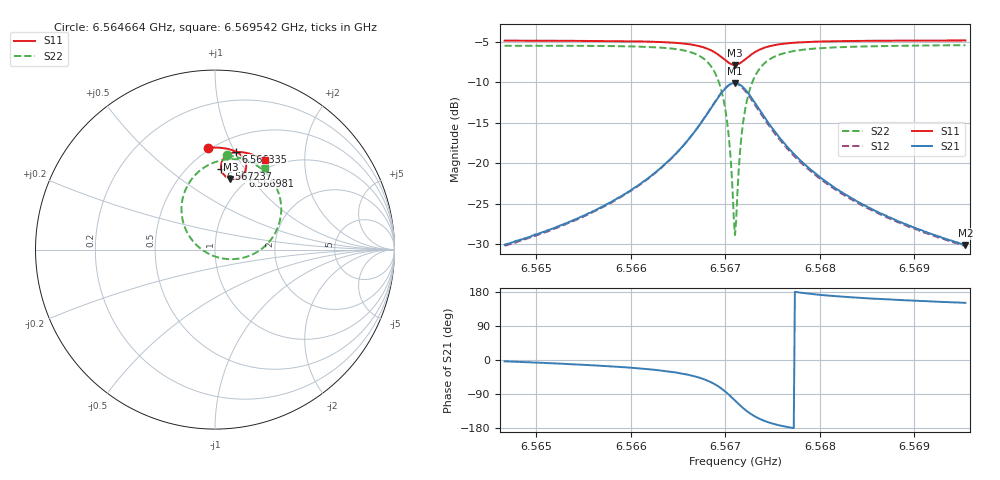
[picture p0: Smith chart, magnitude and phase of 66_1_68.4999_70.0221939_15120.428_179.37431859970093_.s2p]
#  HZ  S  RI  R  50.00
! Rohde & Schwarz Vector Network Analyzer
! Rohde-Schwarz,ZNB20-2Port,1311601062101988,3.16
! Created: UTC 3/20/2024, 4:51:32 PM
! freq[Hz]  re:S11  im:S11  re:S21  im:S21  re:S12  im:S12  re:S22  im:S22
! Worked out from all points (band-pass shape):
!   401 points, 6.564664 GHz to 6.569542 GHz, reference 50 ohm
!   highest |S21| = -10.12 dB at 6.567103 GHz (marker M1); lowest = -30.1 dB at 6.569542 GHz (marker M2)
!   |S21| within 3 dB of the highest: 6.566855 GHz to 6.567345 GHz (489.8 kHz wide, 0.00746 % of centre)
!   lowest |S11| = -7.9 dB at 6.567103 GHz (marker M3), VSWR 2.35, Z = 42.3 + j39.8 ohm
!   |S11| at or under -10 dB: nowhere
!   |S22| runs from -28.9 to -5.4 dB; largest |S21 - S12| = 0.016
!   S11 on the Smith chart (normalised r, x): 6.564664 GHz: 0.48, +0.81; 6.566335 GHz: 0.64, +1.01; 6.566981 GHz: 0.91, +0.93; 6.567237 GHz: 0.70, +0.79; 6.569542 GHz: 0.88, +1.30
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6.5646639e9  -0.0378 0.568  0.0312 -0.00187  0.0308 -0.00226  0.0654 0.5252
6.5654809e9  0.0307 0.567  0.0457 -0.0102  0.0448 -0.0107  0.1481 0.5076
6.566298e9  0.1115 0.5478  0.0812 -0.0416  0.08 -0.0426  0.2691 0.4412
6.5663346e9  0.1157 0.5457  0.0839 -0.045  0.0828 -0.046  0.2765 0.4347
6.5665907e9  0.148 0.5233  0.1065 -0.0836  0.105 -0.0854  0.3354 0.3587
6.5667858e9  0.1709 0.485  0.1185 -0.151  0.1154 -0.1545  0.369 0.2285
6.5668955e9  0.1719 0.4475  0.1018 -0.2169  0.0954 -0.2214  0.3408 0.1027
6.5669809e9  0.1531 0.413  0.0514 -0.2759  0.0406 -0.279  0.2465 -0.0059
6.5670297e9  0.1307 0.3977  0.00143 -0.3  -0.0119 -0.3  0.1533 -0.0464
6.5670541e9  0.1166 0.3933  -0.0282 -0.3054  -0.0425 -0.3032  0.0989 -0.0533
6.5670784e9  0.1014 0.3922  -0.0595 -0.305  -0.0741 -0.3004  0.0422 -0.0495
6.5671028e9  0.0862 0.3942  -0.0908 -0.2985  -0.1048 -0.2913  -0.0128 -0.0336
6.567115e9  0.0788 0.3965  -0.1058 -0.293  -0.1192 -0.2845  -0.0386 -0.0215
6.5671272e9  0.0717 0.3996  -0.1201 -0.2859  -0.1327 -0.2765  -0.0628 -0.00709
6.5671516e9  0.0591 0.4078  -0.1456 -0.2684  -0.1567 -0.2568  -0.1056 0.0279
6.567176e9  0.0488 0.4183  -0.1669 -0.2471  -0.1756 -0.2343  -0.1391 0.0686
6.567237e9  0.0348 0.448  -0.1975 -0.1877  -0.2008 -0.1745  -0.1828 0.1772
6.5673345e9  0.0386 0.49  -0.1989 -0.1068  -0.1968 -0.0966  -0.1703 0.3184
6.5674809e9  0.0654 0.5243  -0.1642 -0.0397  -0.1607 -0.0342  -0.0951 0.4305
6.5679199e9  0.1356 0.5436  -0.089 0.00908  -0.0868 0.0106  0.0686 0.5027
6.5687369e9  0.2164 0.5266  -0.0434 0.016  -0.0424 0.0164  0.2012 0.4885
6.5695418e9  0.2779 0.4988  -0.0272 0.0152  -0.0266 0.0152  0.2777 0.4562
